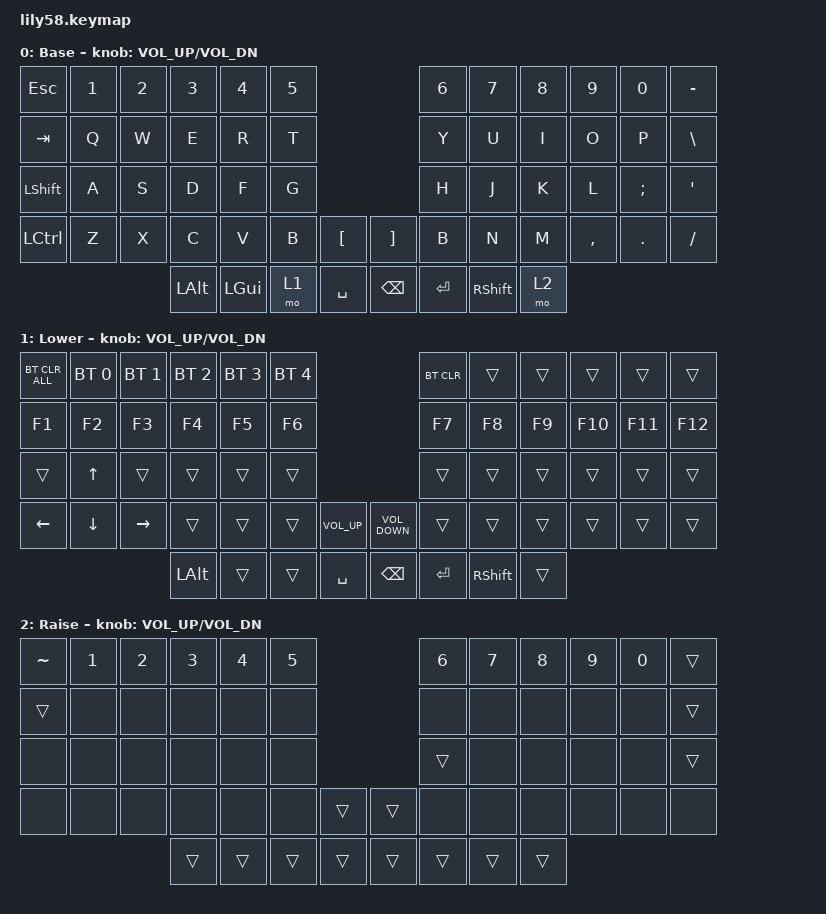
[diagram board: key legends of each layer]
/*
 * Copyright (c) 2020 The ZMK Contributors
 *
 * SPDX-License-Identifier: MIT
 */

#include <behaviors.dtsi>
#include <dt-bindings/zmk/bt.h>
#include <dt-bindings/zmk/keys.h>

/ {
    keymap {
        compatible = "zmk,keymap";

        base_layer {
            // ------------------------------------------------------------------------------------------------------------
            // |  ESC  |  1  |  2  |  3   |  4   |  5   |                   |  6   |  7    |  8    |  9   |   0   |   `   |
            // |  TAB  |  Q  |  W  |  E   |  R   |  T   |                   |  Y   |  U    |  I    |  O   |   P   |   -   |
            // |  CTRL |  A  |  S  |  D   |  F   |  G   |                   |  H   |  J    |  K    |  L   |   ;   |   '   |
            // | SHIFT |  Z  |  X  |  C   |  V   |  B   |   "["  |  |  "]"  |  N   |  M    |  ,    |  .   |   /   | SHIFT |
            //                     | ALT  | GUI  | LOWER|  SPACE |  | ENTER | RAISE| BSPC  | GUI   |

            display-name = "Base";
            bindings = <
&kp ESC           &kp N1  &kp N2  &kp N3    &kp N4    &kp N5                              &kp N6     &kp N7           &kp N8  &kp N9     &kp N0      &kp MINUS
&kp TAB           &kp Q   &kp W   &kp E     &kp R     &kp T                               &kp Y      &kp U            &kp I   &kp O      &kp P       &kp BACKSLASH
&kp LEFT_SHIFT    &kp A   &kp S   &kp D     &kp F     &kp G                               &kp H      &kp J            &kp K   &kp L      &kp SEMI    &kp SINGLE_QUOTE
&kp LEFT_CONTROL  &kp Z   &kp X   &kp C     &kp V     &kp B   &kp LBKT     &kp RBKT       &kp B      &kp N            &kp M   &kp COMMA  &kp PERIOD  &kp SLASH
                                  &kp LALT  &kp LGUI  &mo 1   &kp SPACE    &kp BACKSPACE  &kp ENTER  &kp RIGHT_SHIFT  &mo 2
            >;

            sensor-bindings = <&inc_dec_kp C_VOL_UP C_VOL_DN>;
        };

        lower_layer {
            // ------------------------------------------------------------------------------------------------------------
            // | BTCLR | BT1 | BT2 |  BT3 |  BT4 |  BT5 |                   |      |       |       |      |       |       |
            // |  F1   |  F2 |  F3 |  F4  |  F5  |  F6  |                   |  F7  |  F8   |  F9   |  F10 |  F11  |  F12  |
            // |   `   |  !  |  @  |  #   |  $   |  %   |                   |  ^   |  &    |  *    |  (   |   )   |   ~   |
            // |       |     |     |      |      |      |        |  |       |      |  _    |  +    |  {   |   }   |  "|"  |
            //                     |      |      |      |        |  |       |      |       |       |

            display-name = "Lower";
            bindings = <
&bt BT_CLR_ALL  &bt BT_SEL 0  &bt BT_SEL 1  &bt BT_SEL 2  &bt BT_SEL 3  &bt BT_SEL 4                                     &bt BT_CLR  &trans           &trans  &trans   &trans   &trans
&kp F1          &kp F2        &kp F3        &kp F4        &kp F5        &kp F6                                           &kp F7      &kp F8           &kp F9  &kp F10  &kp F11  &kp F12
&trans          &kp UP_ARROW  &trans        &trans        &trans        &trans                                           &trans      &trans           &trans  &trans   &trans   &trans
&kp LEFT        &kp DOWN      &kp RIGHT     &trans        &trans        &trans        &kp C_VOL_UP    &kp C_VOLUME_DOWN  &trans      &trans           &trans  &trans   &trans   &trans
                                            &kp LEFT_ALT  &trans        &trans        &kp SPACE       &kp BACKSPACE      &kp ENTER   &kp RIGHT_SHIFT  &trans
            >;

            sensor-bindings = <&inc_dec_kp C_VOL_UP C_VOL_DN>;
        };

        upper_layer {
            // ------------------------------------------------------------------------------------------------------------
            // |       |     |     |      |      |      |                   |      |       |       |      |       |       |
            // |   `   |  1  |  2  |  3   |  4   |  5   |                   |  6   |   7   |   8   |  9   |   0   |       |
            // |   F1  |  F2 |  F3 |  F4  |  F5  |  F6  |                   |      |   <-  |   v   |  ^   |  ->   |       |
            // |   F7  |  F8 |  F9 |  F10 |  F11 |  F12 |        |  |       |  +   |   -   |   =   |  [   |   ]   |   \   |
            //                     |      |      |      |        |  |       |      |       |       |

            display-name = "Raise";
            bindings = <
&kp TILDE  &kp NUMBER_1  &kp NUMBER_2  &kp NUMBER_3  &kp NUMBER_4  &kp NUMBER_5                    &kp NUMBER_6  &kp NUMBER_7  &kp NUMBER_8  &kp NUMBER_9  &kp NUMBER_0  &trans
&trans     &none         &none         &none         &none         &none                           &none         &none         &none         &none         &none         &trans
&none      &none         &none         &none         &none         &none                           &trans        &none         &none         &none         &none         &trans
&none      &none         &none         &none         &none         &none         &trans    &trans  &none         &none         &none         &none         &none         &none
                                       &trans        &trans        &trans        &trans    &trans  &trans        &trans        &trans
            >;

            sensor-bindings = <&inc_dec_kp C_VOL_UP C_VOL_DN>;
        };

        extra_1 { status = "reserved"; };
    };
};
